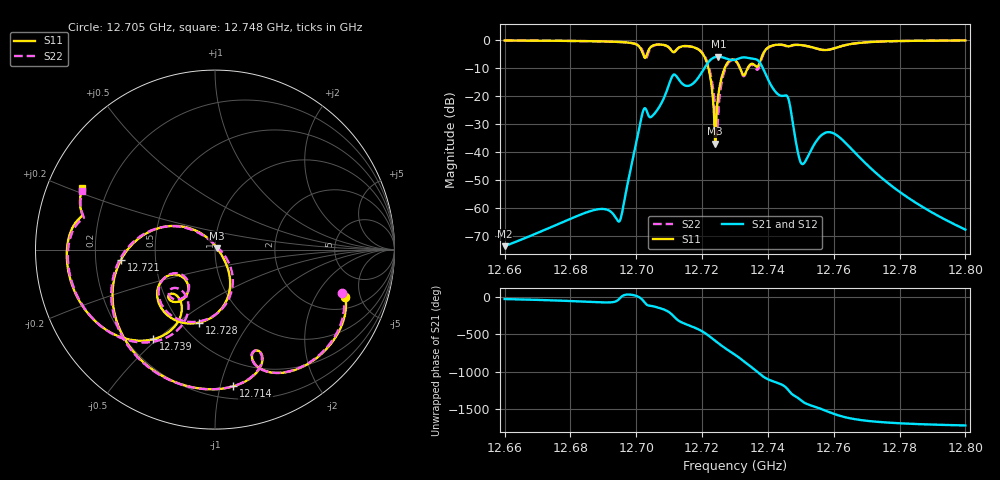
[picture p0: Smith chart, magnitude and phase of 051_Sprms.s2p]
! TOUCHSTONE file generated by CST MICROWAVE STUDIO
! Date and time: Wed Jul 31 13:15:14 2024
! Project name: WaveGuide_BPF-Ver4.1_U-shape_Ku_T3_C4_CWA_2.cst
! Parameters = {cavity_h=16; cavity_l0=10; cavity_l1=15.2121; cavity_l2=16.8059; cavity_l3=17.1119; cavity_l4=17.3052; cavity_l5=17.1372; cavity_l6=17.6075; cavity_r=2.5; cavity_screw_l=0.5; cavity_screw_r=1.5; cavity_w=8; iris_h00=0; iris_h01=8.8179; iris_h112=0; iris_h12=5.6081; iris_h211=3.6639; 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
! Header version: 2018
! Port assignment regex: !\s*Touchstone port\s*([0-9]+)\s*=\s*(CST MWS port|CST DS port)\s*([0-9]+|Zmin|Zmax)\s*\(\"(.*)\"\)(\s*mode\s*([0-9]+))?.*
! Touchstone port assignment:
! Touchstone port 1 = CST MWS port 1 ("")
! Touchstone port 2 = CST MWS port 2 ("")
# GHz S RI R 50
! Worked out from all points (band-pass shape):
!   5001 points, 12.66 GHz to 12.8 GHz, reference 50 ohm
!   highest |S21| = -5.96 dB at 12.725 GHz (marker M1); lowest = -73.6 dB at 12.66 GHz (marker M2)
!   |S21| within 3 dB of the highest: 12.72126 GHz to 12.73803 GHz (16.77 MHz wide, 0.132 % of centre)
!   lowest |S11| = -37.0 dB at 12.724 GHz (marker M3), VSWR 1.03, Z = 51.1 + j0.952 ohm
!   |S11| at or under -10 dB: 12.72191 GHz to 12.72688 GHz (4.965 MHz wide, 0.039 % of centre); 12.7315 GHz to 12.73388 GHz (2.379 MHz wide, 0.0187 % of centre)
!   |S22| runs from -34.0 to -0.2 dB; largest |S21 - S12| = 1e-09
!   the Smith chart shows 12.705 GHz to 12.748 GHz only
!   S11 on the Smith chart (normalised r, x): 12.705 GHz: 2.80, -3.65; 12.714 GHz: 0.30, -1.10; 12.721 GHz: 0.31, -0.05; 12.728 GHz: 0.61, -0.60; 12.739 GHz: 0.31, -0.49; 12.748 GHz: 0.11, +0.22
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12.66  0.3671 0.9084  0.000189 -9.06e-05  0.000189 -9.06e-05  0.363 0.9101
12.68335  0.7815 0.553  0.000407 -0.000664  0.000407 -0.000664  0.7796 0.5555
12.69492  0.9209 0.0415  0.000551 -0.0002  0.000551 -0.0002  0.9211 0.0434
12.70192  0.4706 -0.3551  0.0395 -0.0308  0.0395 -0.0308  0.4954 -0.3942
12.70469  0.7264 -0.2627  -0.0206 -0.0378  -0.0206 -0.0378  0.7087 -0.2413
12.70668  0.6552 -0.5125  -0.0465 -0.0375  -0.0465 -0.0375  0.6544 -0.5047
12.7139  0.1023 -0.7618  0.1582 0.0545  0.1582 0.0545  0.0978 -0.7621
12.72054  -0.5235 -0.0565  -0.1165 -0.2822  -0.1165 -0.2822  -0.5382 -0.0707
12.72398  0.0107 0.00932  -0.3445 0.355  -0.3445 0.355  -0.0285 0.0523
12.72493  0.0628 -0.0827  -0.102 0.493  -0.102 0.493  0.0481 -0.0256
12.7281  -0.0894 -0.407  0.45 0.0124  0.45 0.0124  -0.062 -0.3939
12.73  -0.3071 -0.3115  0.2641 -0.3571  0.2641 -0.3571  -0.2957 -0.3093
12.73375  -0.1614 -0.259  -0.481 -0.00875  -0.481 -0.00875  -0.1591 -0.2499
12.73624  -0.2415 -0.2452  -0.055 0.4513  -0.055 0.4513  -0.2289 -0.2139
12.73879  -0.3435 -0.4992  0.2853 0.034  0.2853 0.034  -0.3001 -0.5025
12.74775  -0.7395 0.3426  -0.0157 0.0233  -0.0157 0.0233  -0.7394 0.3291
12.75022  -0.5247 0.6163  0.00408 0.00471  0.00408 0.00471  -0.5247 0.6113
12.75335  -0.00161 0.7432  0.011 -0.00354  0.011 -0.00354  0.00805 0.7385
12.75786  0.6631 0.0219  -0.000347 -0.0225  -0.000347 -0.0225  0.6633 -0.00401
12.76276  0.0892 -0.7828  -0.0157 -0.00438  -0.0157 -0.00438  0.0717 -0.7886
12.77668  -0.9007 -0.2963  -0.00116 0.00249  -0.00116 0.00249  -0.9014 -0.2958
12.8  -0.9392 0.282  9.18e-05 0.000404  9.18e-05 0.000404  -0.9401 0.2792
